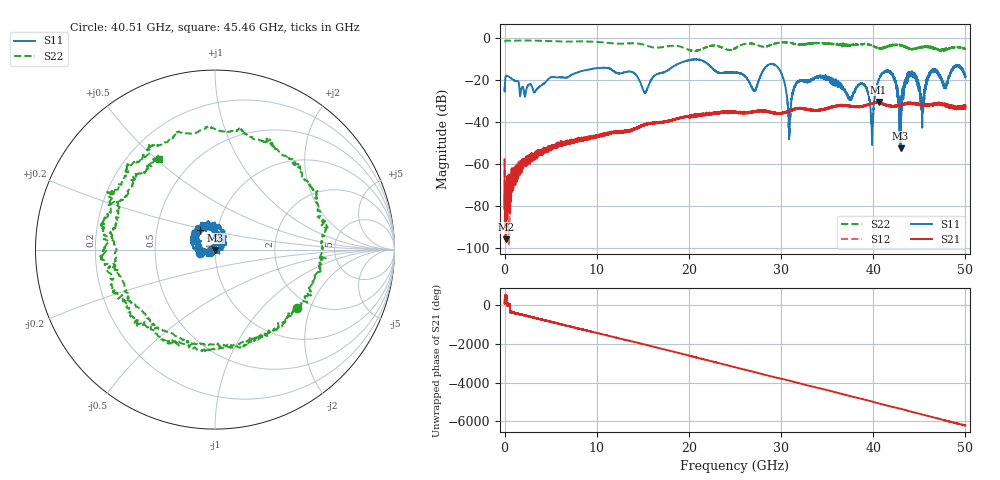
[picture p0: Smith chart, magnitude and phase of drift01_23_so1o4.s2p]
!Created with skrf (http://scikit-rf.org).
# Hz S RI R 50.0
!freq ReS11 ImS11 ReS21 ImS21 ReS12 ImS12 ReS22 ImS22
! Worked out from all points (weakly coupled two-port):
!   10001 points, 300 kHz to 50 GHz, reference 50 ohm
!   highest |S21| = -30.56 dB at 40.59 GHz (marker M1); lowest = -95.8 dB at 120.3 MHz (marker M2)
!   lowest |S11| = -52.6 dB at 42.97 GHz (marker M3), VSWR 1.00, Z = 50.2 - j0.18 ohm
!   |S11| at or under -10 dB: start of sweep to end of sweep
!   |S22| runs from -6.5 to -1.4 dB; largest |S21 - S12| = 0.0048
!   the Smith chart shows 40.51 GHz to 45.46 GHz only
!   S11 on the Smith chart (normalised r, x): 40.51 GHz: 0.85, -0.03; 44 GHz: 0.83, +0.18; 45.46 GHz: 0.93, -0.03
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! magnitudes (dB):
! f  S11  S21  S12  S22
! 300 kHz  -23.9  -57.8  -57.8  -2.1
! 120.3 MHz  -18.5  -95.8  -76.4  -1.5
! 8.335 GHz  -15.9  -48.5  -48.1  -1.8
! 13.78 GHz  -16.2  -43.9  -43.8  -2.7
! 15.23 GHz  -26.2  -41.1  -41.2  -3.6
! 16.67 GHz  -17.0  -40.2  -40.2  -4.8
! 25 GHz  -16.6  -35.5  -35.5  -5.1
! 27.1 GHz  -25.2  -34.7  -35.2  -3.2
! 29.42 GHz  -13.2  -36.0  -36.0  -2.8
! 30.91 GHz  -44.2  -34.6  -34.8  -2.5
! 31.66 GHz  -21.7  -33.9  -33.7  -3.2
! 33.34 GHz  -19.8  -34.4  -34.2  -2.7
! 38.91 GHz  -22.1  -32.3  -32.6  -3.0
! 39.86 GHz  -47.4  -31.0  -31.2  -3.7
! 40.51 GHz  -21.5  -30.7  -30.9  -5.0
! 40.59 GHz  -20.1  -30.6  -30.9  -5.0
! 41.67 GHz  -16.2  -32.1  -32.4  -4.4
! 42.97 GHz  -52.6  -32.0  -32.0  -3.8
! 44 GHz  -17.3  -31.0  -31.3  -5.5
! 45.46 GHz  -28.3  -31.6  -32.0  -4.5
! 46.43 GHz  -15.3  -31.5  -31.6  -4.7
! 50 GHz  -18.4  -32.1  -32.5  -5.3
